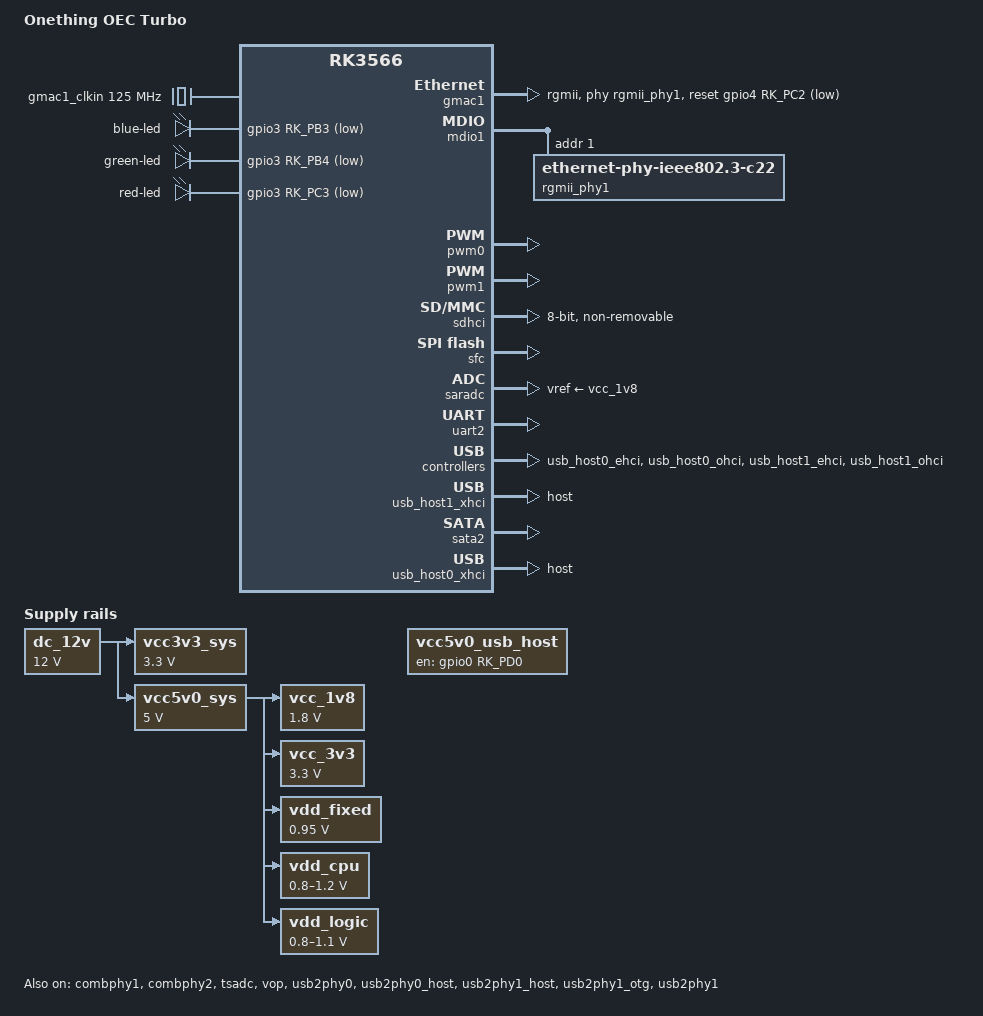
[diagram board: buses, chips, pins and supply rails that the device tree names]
/* @file rk3566-onething-oect.dts

    Rewritten DTB file for Onething OEC Turbo.

    SPDX-License-Identifier: WTFPL

*/

/dts-v1/;

#include <dt-bindings/gpio/gpio.h>
#include <dt-bindings/leds/common.h>
#include <dt-bindings/pinctrl/rockchip.h>
#include <dt-bindings/soc/rockchip,vop2.h>
#include "rk3566.dtsi"

/ {

	model = "Onething OEC Turbo";
	compatible = "rockchip,rk3566-onething-oect", "rockchip,rk3566";

    chosen {
		stdout-path = "serial2:1500000n8";
	};

    reserved-memory {
		#address-cells = <2>;
		#size-cells = <2>;
		ranges;

		ramoops: ramoops@110000 {
			compatible = "ramoops";
			reg = <0 0x110000 0 0xf0000>;
			console-size = <0x80000>;
			ftrace-size = <0x00000>;
			pmsg-size = <0x50000>;
			record-size = <0x20000>;
		};
	};

	rockchip-system-monitor {
		compatible = "rockchip,system-monitor";
		rockchip,thermal-zone = "soc-thermal";
	};

	gmac1_clkin: external-gmac1-clock {
		compatible = "fixed-clock";
		clock-frequency = <125000000>;
		clock-output-names = "gmac1_clkin";
		#clock-cells = <0>;
	};

	gpio-leds {
		status = "okay";
		compatible = "gpio-leds";

		blue-led {
			gpios = <&gpio3 RK_PB3 GPIO_ACTIVE_LOW>;
			default-state = "off";
		};

		green-led {
			gpios = <&gpio3 RK_PB4 GPIO_ACTIVE_LOW>;
			default-state = "on";
		};

		red-led {
			gpios = <&gpio3 RK_PC3 GPIO_ACTIVE_LOW>;
			default-state = "off";
		};
	};

	dc_12v:dc-12v {
		compatible = "regulator-fixed";
		regulator-name = "dc_12v";
		regulator-always-on;
		regulator-boot-on;
		regulator-min-microvolt = <12000000>;
		regulator-max-microvolt = <12000000>;
	};

	vcc3v3_sys:vcc3v3-sys {
		compatible = "regulator-fixed";
		regulator-name = "vcc3v3_sys";
		regulator-always-on;
		regulator-boot-on;
		regulator-min-microvolt = <3300000>;
		regulator-max-microvolt = <3300000>;
		vin-supply = <&dc_12v>;
	};

	vcc5v0_sys:vcc5v0-sys {
		compatible = "regulator-fixed";
		regulator-name = "vcc5v0_sys";
		regulator-always-on;
		regulator-boot-on;
		regulator-min-microvolt = <5000000>;
		regulator-max-microvolt = <5000000>;
		vin-supply = <&dc_12v>;
	};

	vcc_1v8:vcc_1v8 {
		compatible = "regulator-fixed";
		regulator-name = "vcc_1v8";
		regulator-always-on;
		regulator-boot-on;
		regulator-min-microvolt = <1800000>;
		regulator-max-microvolt = <1800000>;
		vin-supply = <&vcc5v0_sys>;
	};

	vcc_3v3:vcc_3v3 {
		compatible = "regulator-fixed";
		regulator-name = "vcc_3v3";
		regulator-always-on;
		regulator-boot-on;
		regulator-min-microvolt = <3300000>;
		regulator-max-microvolt = <3300000>;
		vin-supply = <&vcc5v0_sys>;
	};

	vdd_fixed:vdd-fixed {
		compatible = "regulator-fixed";
		regulator-name = "vdd_fixed";
		regulator-min-microvolt = <950000>;
		regulator-max-microvolt = <950000>;
		regulator-always-on;
		regulator-boot-on;
		vin-supply = <&vcc5v0_sys>;
	};

	vdd_cpu:vdd-cpu {
		compatible = "pwm-regulator";
		pwms = <&pwm0 0x00 5000 0x01>;
		regulator-name = "vdd_cpu";
		regulator-min-microvolt = <800000>;
		regulator-max-microvolt = <1200000>;
		regulator-init-microvolt = <0xe7ef0>;
		regulator-always-on;
		regulator-boot-on;
		regulator-settling-time-up-us = <250>;
		pwm-supply = <&vcc5v0_sys>;
		status = "okay";
	};

	vdd-logic {
		compatible = "pwm-regulator";
		pwms = <&pwm1 0x00 5000 0x01>;
		regulator-name = "vdd_logic";
		regulator-min-microvolt = <800000>;
		regulator-max-microvolt =  <1100000>;
		regulator-init-microvolt = <800000>;
		regulator-always-on;
		regulator-boot-on;
		regulator-settling-time-up-us = <250>;
		status = "okay";
		pwm-supply = <&vcc5v0_sys>;
	};

	vcc5v0_usb_host:vcc5v0-host-regulator {
		compatible = "regulator-fixed";
		enable-active-high;
		gpio = <&gpio0 RK_PD0 0x00>;
		pinctrl-names = "default";
		pinctrl-0 = <&usb_vcc_en>;
		regulator-name = "vcc5v0_host";
		regulator-always-on;
	};
};

&combphy1 {
	status = "okay";
};

&combphy2 {
	status = "okay";
};

&cpu0 {
	cpu-supply = <&vdd_cpu>;
};

&cpu1 {
	cpu-supply = <&vdd_cpu>;
};

&cpu2 {
	cpu-supply = <&vdd_cpu>;
};

&cpu3 {
	cpu-supply = <&vdd_cpu>;
};

&gmac1 {
	assigned-clocks = <&cru SCLK_GMAC1_RX_TX>, <&cru SCLK_GMAC1>;
	assigned-clock-parents = <&cru SCLK_GMAC1_RGMII_SPEED>;
	phy-mode = "rgmii";
	clock_in_out = "input";
	pinctrl-names = "default";
	pinctrl-0 = <&gmac1m1_miim
			&gmac1m1_tx_bus2
			&gmac1m1_rx_bus2
			&gmac1m1_rgmii_clk
			&gmac1m1_rgmii_bus
			&gmac1m1_clkinout>;
	snps,reset-gpio = <&gpio4 RK_PC2 GPIO_ACTIVE_LOW>;
	snps,reset-active-low;
	/* Reset time is 20ms, 100ms for rtl8211f */
	snps,reset-delays-us = <0 20000 100000>;

	tx_delay = <0x4f>;
	rx_delay = <0x2d>;
	phy-handle = <&rgmii_phy1>;
	status = "okay";
};

&mdio1 {
	rgmii_phy1: ethernet-phy@1 {
		compatible = "ethernet-phy-ieee802.3-c22";
		reg = <0x1>;
	};
};

&pmu_io_domains {
	pmuio1-supply = <&vcc_3v3>;
	pmuio2-supply = <&vcc_3v3>;
	vccio1-supply = <&vcc_1v8>;
	vccio3-supply = <&vcc_3v3>;
	vccio4-supply = <&vcc_1v8>;
	vccio5-supply = <&vcc_3v3>;
	vccio6-supply = <&vcc_1v8>;
	vccio7-supply = <&vcc_3v3>;
	status = "okay";
};

&pwm0 {
	status = "okay";
};

&pwm1 {
	status = "okay";
};

&sdhci {
	bus-width = <8>;
	mmc-hs200-1_8v;
	non-removable;
	status = "okay";
};

&sfc {
	#address-cells = <1>;
	#size-cells = <0>;
	status = "okay";
};

&tsadc {
	/* tshut mode 0:CRU 1:GPIO */
	rockchip,hw-tshut-mode = <0>;
	/* tshut polarity 0:LOW 1:HIGH */
	rockchip,hw-tshut-polarity = <0>;
	status = "okay";
};

&saradc {
	vref-supply = <&vcc_1v8>;
	status = "okay";
};

&uart2 {
	status = "okay";
};

&vop {
	assigned-clocks = <&cru DCLK_VOP0>, <&cru DCLK_VOP1>;
	assigned-clock-parents = <&pmucru PLL_HPLL>, <&cru PLL_VPLL>;
	status = "okay";
};

&vop_mmu {
	status = "okay";
};

&usb2phy0 {
	status = "okay";
};

&usb2phy0_host {
	phy-supply = <&vcc5v0_usb_host>;
	status = "okay";
};

&usb2phy1_host {
	phy-supply = <&vcc5v0_usb_host>;
	status = "okay";
};

&usb2phy1_otg {
	phy-supply = <&vcc5v0_usb_host>;
	status = "okay";
};

&usb2phy1 {
	status = "okay";
};

&usb_host0_ehci {
	status = "okay";
};

&usb_host0_ohci {
	status = "okay";
};

&usb_host1_ehci {
	status = "okay";
};

&usb_host1_ohci {
	status = "okay";
};

&usb_host1_xhci {
	status = "okay";
};

&pinctrl {
	usb {
		usb_vcc_en:vcc5v0-host-en {
			rockchip,pins = <0 RK_PC6 RK_FUNC_GPIO &pcfg_pull_none>;
		};
	};
};

&sata2 {
	status = "okay";
};

&usb_host0_xhci {
	dr_mode = "host";
	extcon = <&usb2phy0>;
	status = "okay";
};

&usb_host1_xhci {
	dr_mode = "host";
	status = "okay";
};

&pmugrf {
	reboot-mode {
		compatible = "syscon-reboot-mode";
		offset = <0x200>;
		mode-bootloader = <0x5242c301>;
		mode-charge = <0x5242c30b>;
		mode-fastboot = <0x5242c309>;
		mode-loader = <0x5242c301>;
		mode-normal = <0x5242c300>;
		mode-recovery = <0x5242c303>;
		mode-ums = <0x5242c30c>;
		mode-panic = <0x5242c307>;
		mode-watchdog = <0x5242c308>;
	};
};
